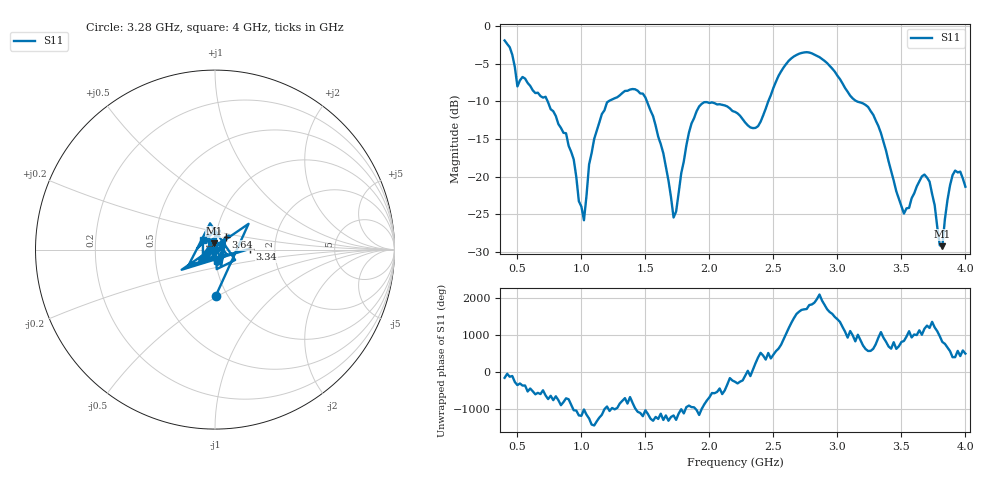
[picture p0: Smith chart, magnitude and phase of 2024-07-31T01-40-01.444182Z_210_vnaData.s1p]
!Created with skrf (http://scikit-rf.org).
# Hz S RI R 50.0
!freq ReS11 ImS11
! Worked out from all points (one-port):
!   181 points, 400 MHz to 4 GHz, reference 50 ohm
!   lowest |S11| = -29.2 dB at 3.82 GHz (marker M1), VSWR 1.07, Z = 49.6 + j3.42 ohm
!   |S11| at or under -10 dB: 736.2 MHz to 1.211 GHz (475.1 MHz wide, 48.8 % of centre); 1.512 GHz to 2.46 GHz (947.6 MHz wide, 47.7 % of centre); 3.153 GHz to end of sweep
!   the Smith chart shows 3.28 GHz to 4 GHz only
!   S11 on the Smith chart (normalised r, x): 3.28 GHz: 0.88, -0.49; 3.34 GHz: 1.48, +0.01; 3.64 GHz: 1.12, +0.16; 4 GHz: 0.87, +0.09
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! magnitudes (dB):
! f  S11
! 400 MHz  -1.9
! 500 MHz  -8.0
! 720 MHz  -9.4
! 860 MHz  -14.2
! 940 MHz  -17.7
! 1.02 GHz  -25.8
! 1.1 GHz  -15.0
! 1.3 GHz  -9.2
! 1.5 GHz  -9.5
! 1.64 GHz  -16.9
! 1.72 GHz  -25.4
! 1.76 GHz  -22.1
! 1.84 GHz  -14.2
! 1.92 GHz  -10.7
! 2.2 GHz  -11.4
! 2.38 GHz  -13.3
! 2.66 GHz  -4.0
! 2.86 GHz  -4.1
! 3.1 GHz  -9.2
! 3.28 GHz  -11.8
! 3.34 GHz  -14.2
! 3.52 GHz  -24.9
! 3.56 GHz  -24.1
! 3.64 GHz  -20.6
! 3.72 GHz  -20.6
! 3.82 GHz  -29.2
! 3.9 GHz  -19.8
! 4 GHz  -21.3
